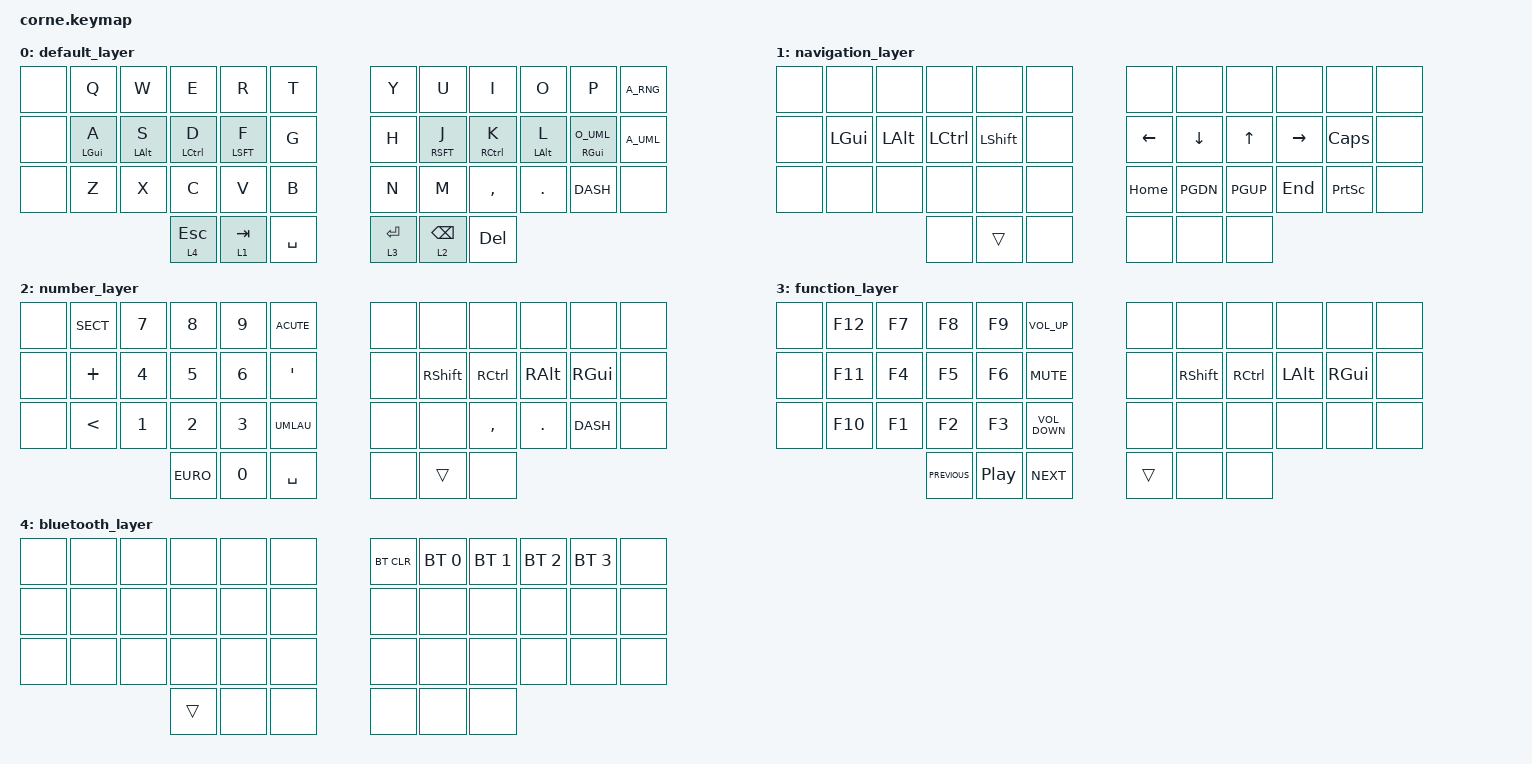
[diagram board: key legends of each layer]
/*
 * Copyright (c) 2023-2024 Taneli Hongisto
 *
 * SPDX-License-Identifier: MIT
 */

#include <behaviors.dtsi>
#include <dt-bindings/zmk/keys.h>
#include <dt-bindings/zmk/bt.h>
#include "keys_fi.h"

// Abbreviations
#define xxx &none
#define ___ &trans
#define V_INC C_VOLUME_UP
#define V_DEC C_VOLUME_DOWN
#define MUTE C_MUTE
#define PLAY C_PLAY_PAUSE
#define NEXT C_NEXT
#define PREV C_PREVIOUS

/* Key indexes for reference:
 * ╭─────────────────╮ ╭─────────────────╮
 * │ 0  1  2  3  4  5│ │ 6  7  8  9 10 11│
 * │12 13 14 15 16 17│ │18 19 20 21 22 23│
 * │24 25 26 27 28 29│ │30 31 32 33 34 35│
 * ╰────────╮36 37 38│ │39 40 41╭────────╯
 *          ╰────────╯ ╰────────╯
 */

#define LEFT_HAND_KEYS  <0  1  2  3  4  5  12 13 14 15 16 17 24 25 26 27 28 29 36 37 38>
#define RIGHT_HAND_KEYS <6  7  8  9  10 11 18 19 20 21 22 23 30 31 32 33 34 35 39 40 41>

// Configuration
/ {
    behaviors {
        lhf: left_hand_home_row_mods_fast {
            compatible = "zmk,behavior-hold-tap";
            label = "LEFT_POSITIONAL_HOLD_TAP_FAST";
            #binding-cells = <2>;
            flavor = "tap-preferred";
            tapping-term-ms = <120>;                        // Produces hold after ms
            quick-tap-ms = <200>;                           // Produces and holds tap key if pressed again in ms
            bindings = <&kp>, <&kp>;
            hold-trigger-key-positions = RIGHT_HAND_KEYS;   // Right hand only
        };
        lhs: left_hand_home_row_mods_slow {
            compatible = "zmk,behavior-hold-tap";
            label = "LEFT_POSITIONAL_HOLD_TAP_SLOW";
            #binding-cells = <2>;
            flavor = "tap-preferred";
            tapping-term-ms = <330>;                        // Produces hold after ms
            quick-tap-ms = <330>;                           // Produces and holds tap key if pressed again in ms
            require-prior-idle-ms = <200>;                  // Disables hold presses until no key is pressed for ms
            bindings = <&kp>, <&kp>;
            hold-trigger-key-positions = RIGHT_HAND_KEYS;   // Right hand only
        };
        rhf: right_hand_home_row_mods_fast {
            compatible = "zmk,behavior-hold-tap";
            label = "RIGHT_POSITIONAL_HOLD_TAP_FAST";
            #binding-cells = <2>;
            flavor = "tap-preferred";
            tapping-term-ms = <120>;                        // Produces hold after ms
            quick-tap-ms = <200>;                           // Produces and holds tap key if pressed again in ms
            bindings = <&kp>, <&kp>;
            hold-trigger-key-positions = LEFT_HAND_KEYS;    // Left hand only
        };
        rhs: right_hand_home_row_mods_slow {
            compatible = "zmk,behavior-hold-tap";
            label = "RIGHT_POSITIONAL_HOLD_TAP_SLOW";
            #binding-cells = <2>;
            flavor = "tap-preferred";
            tapping-term-ms = <330>;                        // Produces hold after ms
            quick-tap-ms = <330>;                           // Produces and holds tap key if pressed again in ms
            require-prior-idle-ms = <200>;                  // Disables hold presses until no key is pressed for ms
            bindings = <&kp>, <&kp>;
            hold-trigger-key-positions = LEFT_HAND_KEYS;    // Left hand only
        };
        ltc: layer-tap-configured {
            compatible = "zmk,behavior-hold-tap";
            label = "LAYER_TAP_CONFIGURED";
            #binding-cells = <2>;
            flavor = "tap-preferred";
            tapping-term-ms = <120>;                        // Produces hold after ms
            quick-tap-ms = <200>;                           // Produces and holds tap key if pressed again in ms
            bindings = <&mo>, <&kp>;
        };
    };

    keymap {
        compatible = "zmk,keymap";

        default_layer { // 0
            bindings = <
    /* ╭───────────┬───────────┬───────────┬───────────┬───────────┬───────────╮   ╭───────────┬───────────┬───────────┬───────────┬───────────┬───────────╮ */
        xxx         &kp Q       &kp W       &kp E       &kp R       &kp T           &kp Y       &kp U       &kp I       &kp O       &kp P       &kp A_RNG
        xxx         &lhs LGUI A &lhs LALT S &lhf LCTL D &lhf LSFT F &kp G           &kp H      &rhf RSFT J &rhf RCTL K &rhs LALT L &rhs RGUI O_UML &kp A_UML
        xxx         &kp Z       &kp X       &kp C       &kp V       &kp B           &kp N       &kp M       &kp COMMA   &kp DOT     &kp DASH    xxx
    /* ╰───────────┴───────────┴───────────╮                                                                           ╭───────────┴───────────┴───────────╯ */
                                            &ltc 4 ESC  &ltc 1 TAB  &kp SPACE      &ltc 3 ENTER &ltc 2 BSPC &kp DEL
                                        /* ╰───────────┴───────────┴───────────╯   ╰───────────┴───────────┴───────────╯ */
            >;
        };

        navigation_layer { // 1
            bindings = <
    /* ╭───────────┬───────────┬───────────┬───────────┬───────────┬───────────╮   ╭───────────┬───────────┬───────────┬───────────┬───────────┬───────────╮ */
        xxx         xxx         xxx         xxx         xxx         xxx             xxx         xxx         xxx         xxx         xxx         xxx
        xxx         &kp LGUI    &kp LALT    &kp LCTRL   &kp LSHFT   xxx             &kp LEFT    &kp DOWN    &kp UP      &kp RIGHT   &kp CAPS    xxx
        xxx         xxx         xxx         xxx         xxx         xxx             &kp HOME    &kp PGDN    &kp PGUP    &kp END     &kp PSCRN   xxx
    /* ╰───────────┴───────────┴───────────╮                                                                           ╭───────────┴───────────┴───────────╯ */
                                            xxx         ___         xxx             xxx         xxx         xxx
                                        /* ╰───────────┴───────────┴───────────╯   ╰───────────┴───────────┴───────────╯ */
            >;
        };

        number_layer { // 2
            bindings = <
    /* ╭───────────┬───────────┬───────────┬───────────┬───────────┬───────────╮   ╭───────────┬───────────┬───────────┬───────────┬───────────┬───────────╮ */
        xxx         &kp SECT    &kp N7      &kp N8      &kp N9      &kp ACUTE       xxx         xxx         xxx         xxx         xxx         xxx
        xxx         &kp PLUS    &kp N4      &kp N5      &kp N6      &kp SQT         xxx         &kp RSHFT   &kp RCTRL   &kp RALT    &kp RGUI    xxx
        xxx         &kp LT      &kp N1      &kp N2      &kp N3      &kp UMLAU       xxx         xxx         &kp COMMA   &kp DOT     &kp DASH    xxx
    /* ╰───────────┴───────────┴───────────╮                                                                           ╭───────────┴───────────┴───────────╯ */
                                            &kp EURO    &kp N0      &kp SPACE       xxx         ___         xxx
                                        /* ╰───────────┴───────────┴───────────╯   ╰───────────┴───────────┴───────────╯ */
            >;
        };

        function_layer { // 3
            bindings = <
    /* ╭───────────┬───────────┬───────────┬───────────┬───────────┬───────────╮   ╭───────────┬───────────┬───────────┬───────────┬───────────┬───────────╮ */
        xxx         &kp F12     &kp F7      &kp F8      &kp F9      &kp V_INC       xxx         xxx         xxx         xxx         xxx         xxx
        xxx         &kp F11     &kp F4      &kp F5      &kp F6      &kp MUTE        xxx         &kp RSHFT   &kp RCTRL   &kp LALT    &kp RGUI    xxx
        xxx         &kp F10     &kp F1      &kp F2      &kp F3      &kp V_DEC       xxx         xxx         xxx         xxx         xxx         xxx
    /* ╰───────────┴───────────┴───────────╮                                                                           ╭───────────┴───────────┴───────────╯ */
                                            &kp PREV    &kp PLAY    &kp NEXT        ___         xxx         xxx
                                        /* ╰───────────┴───────────┴───────────╯   ╰───────────┴───────────┴───────────╯ */
            >;
        };

        bluetooth_layer { // 4
            bindings = <
    /* ╭───────────┬───────────┬───────────┬───────────┬───────────┬───────────╮   ╭───────────┬───────────┬───────────┬───────────┬───────────┬───────────╮ */
        xxx         xxx         xxx         xxx         xxx         xxx            &bt BT_CLR &bt BT_SEL 0 &bt BT_SEL 1 &bt BT_SEL 2 &bt BT_SEL 3 xxx
        xxx         xxx         xxx         xxx         xxx         xxx             xxx         xxx         xxx         xxx         xxx         xxx
        xxx         xxx         xxx         xxx         xxx         xxx             xxx         xxx         xxx         xxx         xxx         xxx
    /* ╰───────────┴───────────┴───────────╮                                                                           ╭───────────┴───────────┴───────────╯ */
                                            ___         xxx         xxx             xxx         xxx         xxx
                                        /* ╰───────────┴───────────┴───────────╯   ╰───────────┴───────────┴───────────╯ */
            >;
        };
    };
};

